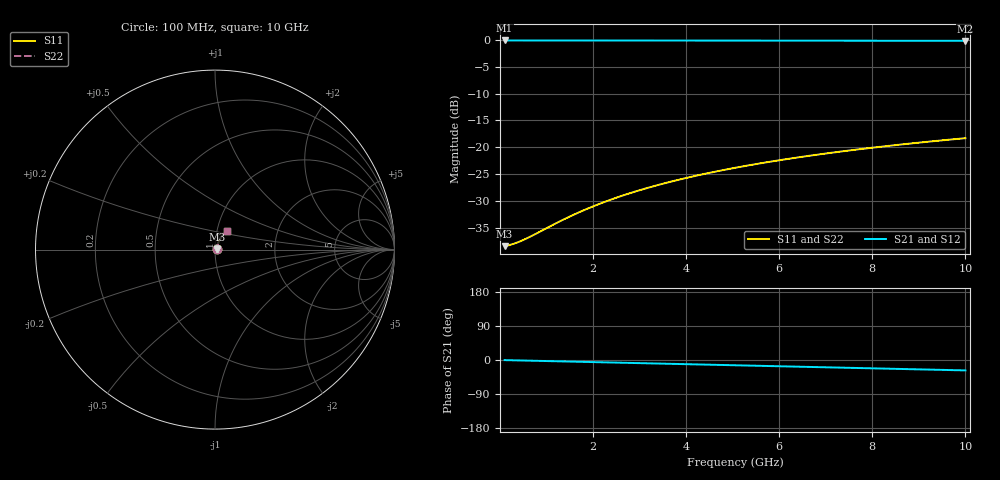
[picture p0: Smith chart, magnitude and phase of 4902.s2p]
# Hz S RI R 50.00
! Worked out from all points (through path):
!   100 points, 100 MHz to 10 GHz, reference 50 ohm
!   highest |S21| = -0.10 dB at 100 MHz (marker M1); lowest = -0.2 dB at 10 GHz (marker M2)
!   group delay of S21, straight-line fit = 7.63 ps
!   lowest |S11| = -38.4 dB at 100 MHz (marker M3), VSWR 1.02, Z = 51.2 + j0.123 ohm
!   |S11| at or under -10 dB: start of sweep to end of sweep
!   |S22| runs from -38.4 to -18.3 dB; largest |S21 - S12| = 0
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1e8  0.0119 0.00121  0.9881 -0.00475  0.9881 -0.00475  0.0119 0.00121
2e8  0.012 0.00241  0.988 -0.00951  0.988 -0.00951  0.012 0.00241
3e8  0.0121 0.00361  0.9879 -0.0143  0.9879 -0.0143  0.0121 0.00361
5e8  0.0123 0.00602  0.9876 -0.0238  0.9876 -0.0238  0.0123 0.00602
7e8  0.0125 0.00842  0.9872 -0.0333  0.9872 -0.0333  0.0125 0.00842
1.3e9  0.0133 0.0156  0.9856 -0.0617  0.9856 -0.0617  0.0133 0.0156
1.6e9  0.0139 0.0192  0.9845 -0.0759  0.9845 -0.0759  0.0139 0.0192
1.8e9  0.0143 0.0215  0.9836 -0.0854  0.9836 -0.0854  0.0143 0.0215
2.2e9  0.0153 0.0262  0.9816 -0.1043  0.9816 -0.1043  0.0153 0.0262
2.6e9  0.0164 0.0309  0.9792 -0.1231  0.9792 -0.1231  0.0164 0.0309
3e9  0.0178 0.0355  0.9764 -0.1419  0.9764 -0.1419  0.0178 0.0355
3.4e9  0.0193 0.0401  0.9733 -0.1605  0.9733 -0.1605  0.0193 0.0401
3.8e9  0.021 0.0446  0.9697 -0.1792  0.9697 -0.1792  0.021 0.0446
4.2e9  0.0228 0.049  0.9658 -0.1977  0.9658 -0.1977  0.0228 0.049
4.6e9  0.0249 0.0533  0.9616 -0.2161  0.9616 -0.2161  0.0249 0.0533
5.1e9  0.0276 0.0587  0.9557 -0.239  0.9557 -0.239  0.0276 0.0587
5.9e9  0.0326 0.0669  0.9452 -0.2753  0.9452 -0.2753  0.0326 0.0669
6.7e9  0.0381 0.0746  0.9332 -0.311  0.9332 -0.311  0.0381 0.0746
7.5e9  0.0443 0.082  0.9198 -0.3461  0.9198 -0.3461  0.0443 0.082
8.4e9  0.0518 0.0896  0.9031 -0.3849  0.9031 -0.3849  0.0518 0.0896
9.2e9  0.059 0.0958  0.8868 -0.4186  0.8868 -0.4186  0.059 0.0958
1e10  0.0667 0.1014  0.8693 -0.4515  0.8693 -0.4515  0.0667 0.1014
